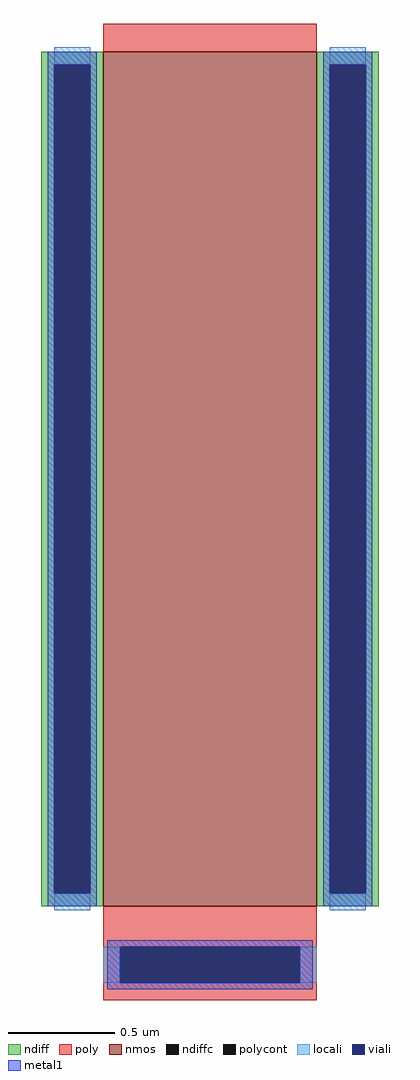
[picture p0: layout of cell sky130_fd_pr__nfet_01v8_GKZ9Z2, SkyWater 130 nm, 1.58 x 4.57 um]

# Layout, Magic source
magic
tech sky130B
magscale 1 2
<< nmos >>
rect -100 -369 100 431
<< ndiff >>
rect -158 419 -100 431
rect -158 -357 -146 419
rect -112 -357 -100 419
rect -158 -369 -100 -357
rect 100 419 158 431
rect 100 -357 112 419
rect 146 -357 158 419
rect 100 -369 158 -357
<< ndiffc >>
rect -146 -357 -112 419
rect 112 -357 146 419
<< poly >>
rect -100 431 100 457
rect -100 -407 100 -369
rect -100 -441 -84 -407
rect 84 -441 100 -407
rect -100 -457 100 -441
<< polycont >>
rect -84 -441 84 -407
<< locali >>
rect -146 419 -112 435
rect -146 -373 -112 -357
rect 112 419 146 435
rect 112 -373 146 -357
rect -100 -441 -84 -407
rect 84 -441 100 -407
<< viali >>
rect -146 -357 -112 419
rect 112 -357 146 419
rect -84 -441 84 -407
<< metal1 >>
rect -152 419 -106 431
rect -152 -357 -146 419
rect -112 -357 -106 419
rect -152 -369 -106 -357
rect 106 419 152 431
rect 106 -357 112 419
rect 146 -357 152 419
rect 106 -369 152 -357
rect -96 -407 96 -401
rect -96 -441 -84 -407
rect 84 -441 96 -407
rect -96 -447 96 -441
<< properties >>
string gencell sky130_fd_pr__nfet_01v8
string library sky130
string parameters w 4 l 1 m 1 nf 1 diffcov 100 polycov 100 guard 0 glc 0 grc 0 gtc 0 gbc 0 tbcov 100 rlcov 100 topc 0 botc 1 poverlap 0 doverlap 0 lmin 0.15 wmin 0.42 class mosfet compatible {sky130_fd_pr__nfet_01v8 sky130_fd_pr__nfet_01v8_lvt  sky130_fd_bs_flash__special_sonosfet_star  sky130_fd_pr__nfet_g5v0d10v5 sky130_fd_pr__nfet_05v0_nvt  sky130_fd_pr__nfet_03v3_nvt} full_metal 0 viasrc 100 viadrn 100 viagate 100 viagb 0 viagr 0 viagl 0 viagt 0
<< end >>
